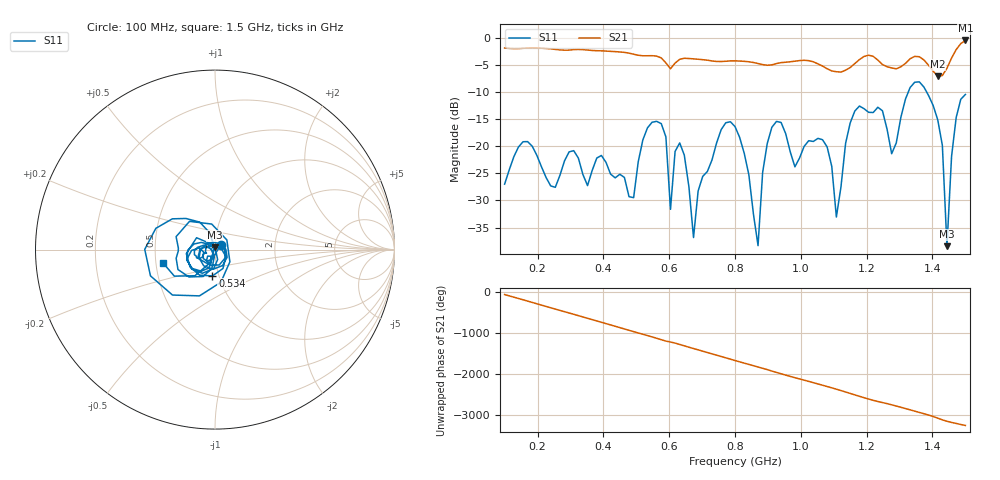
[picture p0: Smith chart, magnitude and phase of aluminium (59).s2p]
! NanoVNA-App
! Date: 2025-09-26 09:58:31
! Start: 100MHz Stop: 1,5GHz Points: 101
! S-Parameter data: F S11 S21 S12 S22
# Hz S RI R 50
!  Frequency  S11_Real  S11_Imag  S21_Real  S21_Imag  S12_Real  S12_Imag  S22_Real  S22_Imag
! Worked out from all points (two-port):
!   101 points, 100 MHz to 1.5 GHz, reference 50 ohm
!   highest |S21| = -0.52 dB at 1.5 GHz (marker M1); lowest = -7.1 dB at 1.416 GHz (marker M2)
!   |S21| within 3 dB of the highest: start of sweep to 566.9 MHz; 1.191 GHz to 1.221 GHz (30.53 MHz wide, 2.53 % of centre)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
!   lowest |S11| = -38.4 dB at 1.444 GHz (marker M3), VSWR 1.02, Z = 49.8 + j1.19 ohm
!   |S11| at or under -10 dB: start of sweep to 1.327 GHz; 1.382 GHz to end of sweep
!   S12 and S22 are empty: the file has one direction only
!   S11 on the Smith chart (normalised r, x): 100 MHz: 1.07, +0.06; 534 MHz: 0.93, -0.28; 1.5 GHz: 0.54, -0.09
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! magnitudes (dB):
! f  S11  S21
! 100 MHz  -27.0  -1.9
! 156 MHz  -19.2  -2.0
! 338 MHz  -25.2  -2.2
! 492 MHz  -29.5  -3.1
! 534 MHz  -16.6  -3.3
! 576 MHz  -15.8  -3.7
! 604 MHz  -31.6  -5.7
! 632 MHz  -19.4  -4.0
! 674 MHz  -36.8  -3.9
! 800 MHz  -16.4  -4.3
! 870 MHz  -38.3  -4.8
! 912 MHz  -16.5  -5.0
! 1.038 GHz  -19.1  -4.5
! 1.08 GHz  -20.1  -5.7
! 1.108 GHz  -33.0  -6.3
! 1.164 GHz  -13.5  -4.8
! 1.276 GHz  -21.4  -5.6
! 1.346 GHz  -8.2  -3.5
! 1.416 GHz  -15.1  -7.1
! 1.444 GHz  -38.4  -5.6
! 1.472 GHz  -14.7  -2.2
! 1.5 GHz  -10.5  -0.5
